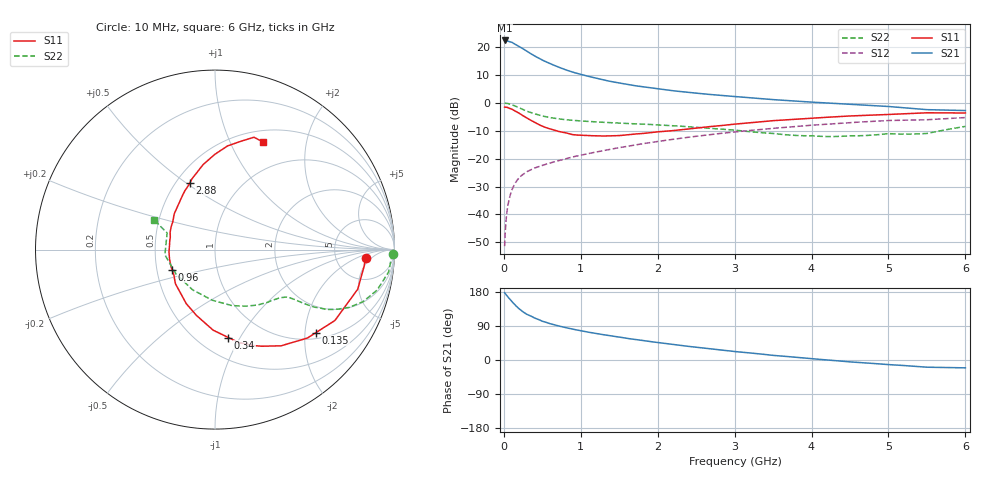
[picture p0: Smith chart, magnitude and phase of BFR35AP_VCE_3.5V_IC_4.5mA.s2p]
! Infineon Technologies  Discrete & RF Semiconductors
! BFR35AP
! VCE =  3.5 V,  IC =  4.5 mA
! Common Emitter S-Parameters:  Nov 2015
# GHz  S  MA  R  50
!  f  S11  S21  S12  S22
! GHz  MAG  ANG  MAG  ANG  MAG  ANG  MAG  ANG
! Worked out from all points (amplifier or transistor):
!   210 points, 10 MHz to 6 GHz, reference 50 ohm
!   highest |S21| = 22.3 dB at 10 MHz (marker M1)
!   |S21| within 3 dB of that: start of sweep to 249.9 MHz
!   unconditionally stable (mu >= 1): 836.7 MHz to 3.489 GHz
!   at 185 MHz: K = 0.35, MSG = 23.9 dB, |S12| = -27.3 dB
!   at 1.52 GHz: K = 1.13, MAG = 9.3 dB, |S12| = -16.0 dB
!   at 6 GHz: K = 0.96, MSG = 1.3 dB, |S12| = -5.3 dB
!   S11 on the Smith chart (normalised r, x): 10 MHz: 10, -3; 135 MHz: 1.16, -2.28; 340 MHz: 0.69, -0.89; 960 MHz: 0.60, -0.14; 2.88 GHz: 0.59, +0.52; 6 GHz: 0.64, +1.34
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0.01  0.8401 -3.3  13.1 177.5  0.0027 89.1  0.9931 -1.4
0.045  0.8256 -14.0  12.76 168.4  0.0125 81.4  0.9761 -6.6
0.1  0.7761 -30.6  12.26 155.2  0.0265 74.2  0.9313 -14.0
0.135  0.7276 -39.5  11.43 147.5  0.0337 69.6  0.8903 -17.7
0.15  0.7128 -43.7  11.15 143.9  0.0369 68.2  0.8739 -19.4
0.2  0.6505 -55.5  10.25 134.9  0.0458 63.8  0.8141 -23.3
0.26  0.5749 -68.4  9.087 125.6  0.0535 59.6  0.7446 -26.6
0.3  0.5336 -75.8  8.342 120.5  0.0583 58.0  0.7051 -28.2
0.34  0.4953 -81.4  7.744 117.1  0.0621 56.8  0.6766 -28.9
0.4  0.4486 -91.4  6.91 110.8  0.0679 55.2  0.634 -30.2
0.5  0.3807 -105.8  5.814 102.3  0.0756 54.7  0.5803 -31.2
0.6  0.3411 -118.0  5.037 95.9  0.0833 55.0  0.5438 -31.7
0.8  0.291 -139.3  3.91 85.5  0.0989 55.2  0.4983 -32.7
0.96  0.264 -154.9  3.347 78.8  0.1121 55.7  0.4777 -33.7
1.02  0.2614 -160.8  3.179 76.4  0.1167 55.9  0.4711 -34.2
1.4  0.2567 169.7  2.397 63.4  0.1485 56.2  0.4406 -38.5
2.02  0.3037 137.8  1.768 45.7  0.2051 53.6  0.4008 -48.6
2.88  0.3981 110.5  1.337 25.2  0.289 46.5  0.3335 -69.7
3.1  0.4264 105.7  1.264 20.6  0.3102 44.0  0.3133 -77.0
4.1  0.5412 88.5  1.01 1.8  0.4054 32.1  0.2515 -124.8
5.1  0.6265 75.6  0.837 -13.3  0.4842 18.0  0.2766 -179.0
6  0.657 65.8  0.727 -20.7  0.5441 7.4  0.3782 154.0
